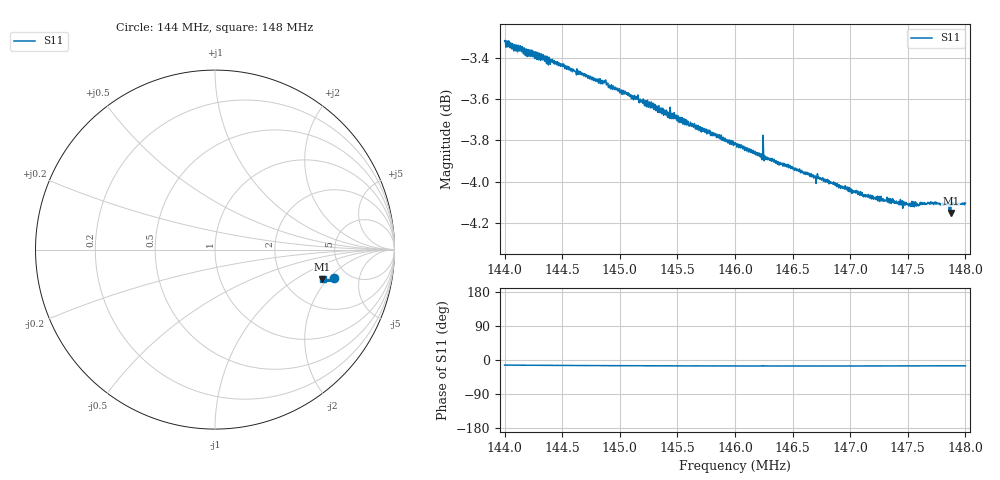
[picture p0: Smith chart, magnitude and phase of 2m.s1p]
! Calibrated averaged scanner-service zoom
# Hz S RI R 50
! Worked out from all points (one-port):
!   1001 points, 144 MHz to 148 MHz, reference 50 ohm
!   lowest |S11| = -4.2 dB at 147.87 MHz (marker M1), VSWR 4.26, Z = 162 - j87.5 ohm
!   |S11| at or under -10 dB: nowhere
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1.44e8  0.6635 -0.1601
1.44076e8  0.6609 -0.1601
1.445e8  0.6529 -0.167
1.44876e8  0.6454 -0.1718
1.4492e8  0.6422 -0.1708
1.45e8  0.6406 -0.171
1.4506e8  0.6403 -0.1732
1.4512e8  0.6377 -0.1723
1.45176e8  0.6374 -0.1741
1.455e8  0.6291 -0.174
1.46e8  0.6205 -0.1755
1.46132e8  0.6178 -0.1726
1.46192e8  0.6168 -0.1755
1.46248e8  0.6172 -0.1729
1.46288e8  0.6146 -0.1751
1.46332e8  0.6148 -0.1719
1.46388e8  0.6129 -0.1748
1.465e8  0.6113 -0.1732
1.46648e8  0.6101 -0.1709
1.46708e8  0.6084 -0.1736
1.46748e8  0.6084 -0.1706
1.47e8  0.6035 -0.1712
1.47132e8  0.6023 -0.1691
1.475e8  0.6006 -0.1661
1.47716e8  0.6011 -0.1654
1.47872e8  0.5973 -0.1661
1.47896e8  0.6011 -0.1649
1.48e8  0.6013 -0.1645
